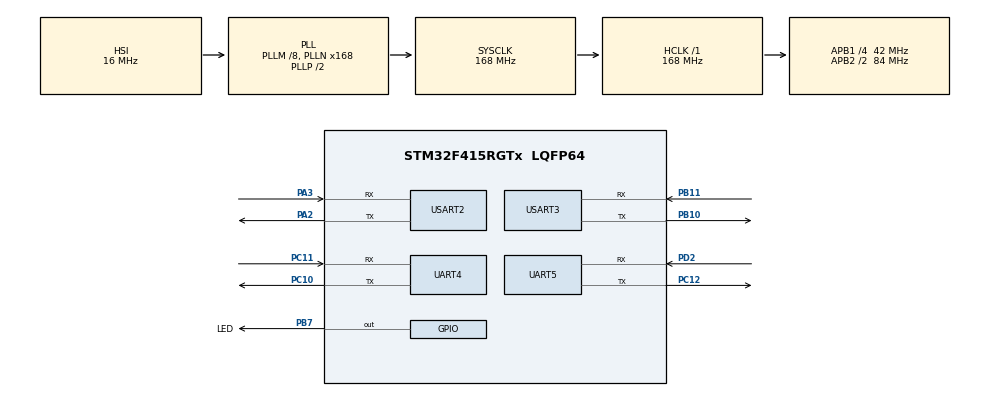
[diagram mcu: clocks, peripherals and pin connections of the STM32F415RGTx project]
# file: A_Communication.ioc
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Dma.Request0=USART2_RX
Dma.Request1=USART2_TX
Dma.Request2=USART3_RX
Dma.Request3=USART3_TX
Dma.Request4=UART5_RX
Dma.Request5=UART5_TX
Dma.Request6=UART4_RX
Dma.Request7=UART4_TX
Dma.UART4_RX.6.Direction=DMA_PERIPH_TO_MEMORY
Dma.UART4_RX.6.FIFOMode=DMA_FIFOMODE_DISABLE
Dma.UART4_RX.6.Instance=DMA1_Stream2
Dma.UART4_RX.6.MemDataAlignment=DMA_MDATAALIGN_BYTE
Dma.UART4_RX.6.MemInc=DMA_MINC_ENABLE
Dma.UART4_RX.6.Mode=DMA_NORMAL
Dma.UART4_RX.6.PeriphDataAlignment=DMA_PDATAALIGN_BYTE
Dma.UART4_RX.6.PeriphInc=DMA_PINC_DISABLE
Dma.UART4_RX.6.Priority=DMA_PRIORITY_LOW
Dma.UART4_TX.7.Direction=DMA_MEMORY_TO_PERIPH
Dma.UART4_TX.7.FIFOMode=DMA_FIFOMODE_DISABLE
Dma.UART4_TX.7.Instance=DMA1_Stream4
Dma.UART4_TX.7.MemDataAlignment=DMA_MDATAALIGN_BYTE
Dma.UART4_TX.7.MemInc=DMA_MINC_ENABLE
Dma.UART4_TX.7.Mode=DMA_NORMAL
Dma.UART4_TX.7.PeriphDataAlignment=DMA_PDATAALIGN_BYTE
Dma.UART4_TX.7.PeriphInc=DMA_PINC_DISABLE
Dma.UART4_TX.7.Priority=DMA_PRIORITY_LOW
Dma.UART5_RX.4.Direction=DMA_PERIPH_TO_MEMORY
Dma.UART5_RX.4.FIFOMode=DMA_FIFOMODE_DISABLE
Dma.UART5_RX.4.Instance=DMA1_Stream0
Dma.UART5_RX.4.MemDataAlignment=DMA_MDATAALIGN_BYTE
Dma.UART5_RX.4.MemInc=DMA_MINC_ENABLE
Dma.UART5_RX.4.Mode=DMA_NORMAL
Dma.UART5_RX.4.PeriphDataAlignment=DMA_PDATAALIGN_BYTE
Dma.UART5_RX.4.PeriphInc=DMA_PINC_DISABLE
Dma.UART5_RX.4.Priority=DMA_PRIORITY_LOW
Dma.UART5_TX.5.Direction=DMA_MEMORY_TO_PERIPH
Dma.UART5_TX.5.FIFOMode=DMA_FIFOMODE_DISABLE
Dma.UART5_TX.5.Instance=DMA1_Stream7
Dma.UART5_TX.5.MemDataAlignment=DMA_MDATAALIGN_BYTE
Dma.UART5_TX.5.MemInc=DMA_MINC_ENABLE
Dma.UART5_TX.5.Mode=DMA_NORMAL
Dma.UART5_TX.5.PeriphDataAlignment=DMA_PDATAALIGN_BYTE
Dma.UART5_TX.5.PeriphInc=DMA_PINC_DISABLE
Dma.UART5_TX.5.Priority=DMA_PRIORITY_LOW
Dma.USART2_RX.0.Direction=DMA_PERIPH_TO_MEMORY
Dma.USART2_RX.0.FIFOMode=DMA_FIFOMODE_DISABLE
Dma.USART2_RX.0.Instance=DMA1_Stream5
Dma.USART2_RX.0.MemDataAlignment=DMA_MDATAALIGN_BYTE
Dma.USART2_RX.0.MemInc=DMA_MINC_ENABLE
Dma.USART2_RX.0.Mode=DMA_NORMAL
Dma.USART2_RX.0.PeriphDataAlignment=DMA_PDATAALIGN_BYTE
Dma.USART2_RX.0.PeriphInc=DMA_PINC_DISABLE
Dma.USART2_RX.0.Priority=DMA_PRIORITY_LOW
Dma.USART2_TX.1.Direction=DMA_MEMORY_TO_PERIPH
Dma.USART2_TX.1.FIFOMode=DMA_FIFOMODE_DISABLE
Dma.USART2_TX.1.Instance=DMA1_Stream6
Dma.USART2_TX.1.MemDataAlignment=DMA_MDATAALIGN_BYTE
Dma.USART2_TX.1.MemInc=DMA_MINC_ENABLE
Dma.USART2_TX.1.Mode=DMA_NORMAL
Dma.USART2_TX.1.PeriphDataAlignment=DMA_PDATAALIGN_BYTE
Dma.USART2_TX.1.PeriphInc=DMA_PINC_DISABLE
Dma.USART2_TX.1.Priority=DMA_PRIORITY_LOW
Dma.USART3_RX.2.Direction=DMA_PERIPH_TO_MEMORY
Dma.USART3_RX.2.FIFOMode=DMA_FIFOMODE_DISABLE
Dma.USART3_RX.2.Instance=DMA1_Stream1
Dma.USART3_RX.2.MemDataAlignment=DMA_MDATAALIGN_BYTE
Dma.USART3_RX.2.MemInc=DMA_MINC_ENABLE
Dma.USART3_RX.2.Mode=DMA_NORMAL
Dma.USART3_RX.2.PeriphDataAlignment=DMA_PDATAALIGN_BYTE
Dma.USART3_RX.2.PeriphInc=DMA_PINC_DISABLE
Dma.USART3_RX.2.Priority=DMA_PRIORITY_LOW
Dma.USART3_TX.3.Direction=DMA_MEMORY_TO_PERIPH
Dma.USART3_TX.3.FIFOMode=DMA_FIFOMODE_DISABLE
Dma.USART3_TX.3.Instance=DMA1_Stream3
Dma.USART3_TX.3.MemDataAlignment=DMA_MDATAALIGN_BYTE
Dma.USART3_TX.3.MemInc=DMA_MINC_ENABLE
Dma.USART3_TX.3.Mode=DMA_NORMAL
Dma.USART3_TX.3.PeriphDataAlignment=DMA_PDATAALIGN_BYTE
Dma.USART3_TX.3.PeriphInc=DMA_PINC_DISABLE
Dma.USART3_TX.3.Priority=DMA_PRIORITY_LOW
Mcu.Family=STM32F4
Mcu.Name=STM32F415RGTx
Mcu.Package=LQFP64
NVIC.DMA1_Stream0_IRQn=true\:0\:0\:false\:false\:true\:false\:true
NVIC.DMA1_Stream1_IRQn=true\:0\:0\:false\:false\:true\:false\:true
NVIC.DMA1_Stream2_IRQn=true\:0\:0\:false\:false\:true\:false\:true
NVIC.DMA1_Stream3_IRQn=true\:0\:0\:false\:false\:true\:false\:true
NVIC.DMA1_Stream4_IRQn=true\:0\:0\:false\:false\:true\:false\:true
NVIC.DMA1_Stream5_IRQn=true\:0\:0\:false\:false\:true\:false\:true
NVIC.DMA1_Stream6_IRQn=true\:0\:0\:false\:false\:true\:false\:true
NVIC.DMA1_Stream7_IRQn=true\:0\:0\:false\:false\:true\:false\:true
NVIC.PriorityGroup=NVIC_PRIORITYGROUP_4
NVIC.TIM1_UP_TIM10_IRQn=true\:0\:0\:false\:false\:true\:false\:true
NVIC.TIM2_IRQn=true\:1\:0\:true\:false\:true\:true\:true
NVIC.TIM3_IRQn=true\:2\:0\:true\:false\:true\:true\:true
NVIC.TIM4_IRQn=true\:3\:0\:true\:false\:true\:true\:true
NVIC.TimeBase=TIM1_UP_TIM10_IRQn
NVIC.TimeBaseIP=TIM1
NVIC.UART4_IRQn=true\:0\:0\:false\:false\:true\:true\:true
NVIC.UART5_IRQn=true\:0\:0\:false\:false\:true\:true\:true
NVIC.USART2_IRQn=true\:0\:0\:true\:false\:true\:true\:true
NVIC.USART3_IRQn=true\:0\:0\:true\:false\:true\:true\:true
PA2.Mode=Asynchronous
PA2.Signal=USART2_TX
PA3.Mode=Asynchronous
PA3.Signal=USART2_RX
PB10.Mode=Asynchronous
PB10.Signal=USART3_TX
PB11.Mode=Asynchronous
PB11.Signal=USART3_RX
PB7.GPIO_Label=LED
PB7.Signal=GPIO_Output
PC10.Mode=Asynchronous
PC10.Signal=UART4_TX
PC11.Mode=Asynchronous
PC11.Signal=UART4_RX
PC12.Mode=Asynchronous
PC12.Signal=UART5_TX
PC14-OSC32_IN.Mode=LSE-External-Oscillator
PC14-OSC32_IN.Signal=RCC_OSC32_IN
PC15-OSC32_OUT.Mode=LSE-External-Oscillator
PC15-OSC32_OUT.Signal=RCC_OSC32_OUT
PD2.Mode=Asynchronous
PD2.Signal=UART5_RX
PH0-OSC_IN.Mode=HSE-External-Oscillator
PH0-OSC_IN.Signal=RCC_OSC_IN
PH1-OSC_OUT.Mode=HSE-External-Oscillator
PH1-OSC_OUT.Signal=RCC_OSC_OUT
ProjectManager.HeapSize=0x200
ProjectManager.StackSize=0x400
ProjectManager.TargetToolchain=MDK-ARM V5.27
RCC.48MHZClocksFreq_Value=84000000
RCC.AHBFreq_Value=168000000
RCC.APB1CLKDivider=RCC_HCLK_DIV4
RCC.APB1Freq_Value=42000000
RCC.APB1TimFreq_Value=84000000
RCC.APB2CLKDivider=RCC_HCLK_DIV2
RCC.APB2Freq_Value=84000000
RCC.APB2TimFreq_Value=168000000
RCC.CortexFreq_Value=168000000
RCC.HCLKFreq_Value=168000000
RCC.HSE_VALUE=24000000
RCC.HSI_VALUE=16000000
RCC.PLLM=8
RCC.PLLN=168
RCC.SYSCLKFreq_VALUE=168000000
RCC.SYSCLKSource=RCC_SYSCLKSOURCE_PLLCLK
RCC.VCOOutputFreq_Value=336000000
TIM2.AutoReloadPreload=TIM_AUTORELOAD_PRELOAD_ENABLE
TIM2.Period=2000-1
TIM2.Prescaler=840-1
TIM3.AutoReloadPreload=TIM_AUTORELOAD_PRELOAD_ENABLE
TIM3.Period=2000-1
TIM3.Prescaler=840-1
TIM4.AutoReloadPreload=TIM_AUTORELOAD_PRELOAD_ENABLE
TIM4.Period=100-1
TIM4.Prescaler=840-1
UART4.VirtualMode=Asynchronous
UART5.VirtualMode=Asynchronous
USART2.VirtualMode=VM_ASYNC
USART3.VirtualMode=VM_ASYNC
VP_SYS_VS_tim1.Mode=TIM1
VP_TIM2_VS_ClockSourceINT.Mode=Internal
VP_TIM3_VS_ClockSourceINT.Mode=Internal
VP_TIM4_VS_ClockSourceINT.Mode=Internal
board=custom

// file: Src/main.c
/* USER CODE BEGIN Header */
/**
  ******************************************************************************
  * @file           : main.c
  * @brief          : Main program body
  ******************************************************************************
  * @attention
  *
  * <h2><center>&copy; Copyright (c) 2021 STMicroelectronics.
  * All rights reserved.</center></h2>
  *
  * This software component is licensed by ST under Ultimate Liberty license
  * SLA0044, the "License"; You may not use this file except in compliance with
  * the License. You may obtain a copy of the License at:
  *                             www.st.com/SLA0044
  *
  ******************************************************************************
  */
/* USER CODE END Header */
#include "main.h"

/* USER CODE BEGIN Includes */

#include "stdio.h"

#include "main_Encode.h"
#include "main_Decode.h"

/* USER CODE END Includes */

/*
中断优先级：
					0-所有串口IO中断
					1-TIM2,加解密算法定时器
					2-TIM3,50Hz触发式定时器，备用可调频率
					3-TIM4,1ms计数器

其中串口统一设置如下：
          波特率：115200 bps
          数据位：8
					停止位：1
					校验位：无
*/

TIM_HandleTypeDef htim2;	/* 加解密算法调用定时器，50Hz触发式调用 */
TIM_HandleTypeDef htim3;	/* 50Hz触发式调用，备用，可调频率*/
TIM_HandleTypeDef htim4;	/* 1ms计数器 */

UART_HandleTypeDef huart4;	/* 调试打印信息 */
UART_HandleTypeDef huart5;	/* 备用串口*/
UART_HandleTypeDef huart2;	/* 输入 */
UART_HandleTypeDef huart3;	/* 输出 */
DMA_HandleTypeDef hdma_uart4_rx;
DMA_HandleTypeDef hdma_uart4_tx;
DMA_HandleTypeDef hdma_uart5_rx;
DMA_HandleTypeDef hdma_uart5_tx;
DMA_HandleTypeDef hdma_usart2_rx;
DMA_HandleTypeDef hdma_usart2_tx;
DMA_HandleTypeDef hdma_usart3_rx;
DMA_HandleTypeDef hdma_usart3_tx;

/* USER CODE BEGIN PV */

uint8_t mark1 = 0;
uint8_t mark2 = 0;
uint8_t mark3 = 0;
uint8_t mark4 = 0;
uint8_t mark5 = 0;
uint8_t mark6 = 0;
uint8_t mark7 = 0;
uint8_t mark8 = 0;
uint8_t mark9 = 0;
uint8_t mark10 = 0;
uint8_t msg_before_encode1[100];
uint8_t msg_before_encode2[100];
uint8_t msg_before_encode3[100];
uint8_t msg_before_encode4[100];
uint8_t msg_before_encode5[100];
uint8_t msg_before_encode6[100];
uint8_t msg_before_encode7[100];
uint8_t msg_before_encode8[100];
uint8_t msg_before_encode9[100];
uint8_t msg_before_encode10[100];

uint64_t Time4_stamp;       /* 用于1毫秒定时器计数 */
uint8_t Dynamic_key = 0; /* 外部调用动态密码数 */

uint8_t MSG1;
uint8_t MSG2;
uint8_t MSG3;
uint8_t MSG4;
uint8_t MSG5;
uint8_t MSG6;

uint16_t MSG116_1;
uint16_t MSG116_2;
uint16_t MSG116_3;

/*
		串口2、3接收信息使用
*/
uint8_t UART2_Rx_Buffer[UART2_RX_BUF_SIZE];  /* USART接收数据存储空间 */
uint8_t UART2_RX_FLAG;  /* 是否完成一帧数据的接收 */
uint8_t UART2_RX_LEN;  /* 接收数据帧大小 */

uint8_t UART3_Rx_Buffer[UART3_RX_BUF_SIZE];  /* USART接收数据存储空间 */
uint8_t UART3_RX_FLAG = 0;  /* 是否完成一帧数据的接收 */
uint8_t UART3_RX_LEN = 0;  /* 接收数据帧大小 */

/*
		串口3发送信息使用
*/
uint8_t UART3_Tx_Buffer[UART3_TX_BUF_SIZE];//USART接收数据存储空间

/* USER CODE END PV */

void SystemClock_Config(void);
static void MX_GPIO_Init(void);
static void MX_DMA_Init(void);
static void MX_USART2_UART_Init(void);
static void MX_USART3_UART_Init(void);
static void MX_TIM2_Init(void);
static void MX_UART4_Init(void);
static void MX_UART5_Init(void);
static void MX_TIM3_Init(void);
static void MX_TIM4_Init(void);

/* USER CODE BEGIN 0 */

/*
	串口4打印调试信息用，printf重定位函数
*/
int fputc(int ch,FILE *f)
{
	 uint8_t temp[1]={ch};
	 HAL_UART_Transmit(&huart4,temp,1,2);
	 return ch;
}

void XHMY(void)
{
		uint32_t SectorError = 0;
    FLASH_EraseInitTypeDef EraseInitStruct;
		HAL_FLASH_Unlock();
    EraseInitStruct.TypeErase = ((uint32_t)0x00);
    EraseInitStruct.Sector = ((uint32_t)0x08000000);
    EraseInitStruct.NbSectors = 11;

    if (HAL_FLASHEx_Erase(&EraseInitStruct, &SectorError) != HAL_OK)
    {
        while (1)
        {
            /* User doing something here */
									printf("HAL_FLASHEx_Erase OK\r\n");
        }
    }
    HAL_FLASH_Lock();
}

/* USER CODE END 0 */

int main(void)
{

  /* MCU Configuration--------------------------------------------------------*/

  /* Reset of all peripherals, Initializes the Flash interface and the Systick. */
  HAL_Init();

  /* Configure the system clock */
  SystemClock_Config();

  /* Initialize all configured peripherals */
  MX_GPIO_Init();
  MX_DMA_Init();
  MX_USART2_UART_Init();
  MX_USART3_UART_Init();
  MX_TIM2_Init();
  MX_UART4_Init();
  MX_UART5_Init();
  MX_TIM3_Init();
  MX_TIM4_Init();
  /* USER CODE BEGIN 2 */

	/* 启动定时器中断 */
	HAL_TIM_Base_Start_IT(&htim2);
	HAL_TIM_Base_Start_IT(&htim3);
	HAL_TIM_Base_Start_IT(&htim4);

  /* USER CODE END 2 */

  /* Infinite loop */
  while (1)
  {

    /* USER CODE BEGIN 3 */

    if (UART2_RX_FLAG == 1)
    {
			  uint8_t tempLen1 = 0;
        uint8_t tempLen2 = 0;
        uint8_t tempLen3 = 0;
        uint8_t tempLen4 = 0;
        uint8_t msg_before_encode[100];

      tempLen1 = UART2_Rx_Buffer[4] + (UART2_Rx_Buffer[5] <<8);
      if (UART2_RX_LEN == tempLen1)
      {
          memcpy(&msg_before_encode[0], &UART2_Rx_Buffer[0], tempLen1);
          main_Encode(msg_before_encode,Time4_stamp,Dynamic_key);
      }
      else
      {
          tempLen1 = UART2_Rx_Buffer[4] + (UART2_Rx_Buffer[5] <<8);
          memcpy(&msg_before_encode[0], &UART2_Rx_Buffer[0], tempLen1);
          main_Encode(msg_before_encode,Time4_stamp,Dynamic_key);

          tempLen2 = UART2_Rx_Buffer[tempLen1+4] + (UART2_Rx_Buffer[tempLen1+5] <<8);
          memcpy(&msg_before_encode[0], &UART2_Rx_Buffer[tempLen1], tempLen2);
          main_Encode(msg_before_encode,Time4_stamp,Dynamic_key);

          if (UART2_RX_LEN > (tempLen1 + tempLen2))
          {
            tempLen3 = UART2_Rx_Buffer[tempLen1 + tempLen2+4] + (UART2_Rx_Buffer[tempLen1 + tempLen2+5] <<8);
            memcpy(&msg_before_encode[0], &UART2_Rx_Buffer[tempLen1 + tempLen2], tempLen3);
            main_Encode(msg_before_encode,Time4_stamp,Dynamic_key);

            if (UART2_RX_LEN > (tempLen1 + tempLen2 + tempLen3))
            {
               tempLen4 = UART2_Rx_Buffer[tempLen1 + tempLen2 + tempLen3+4] + (UART2_Rx_Buffer[tempLen1 + tempLen2 + tempLen3+5] <<8);
			         memcpy(&msg_before_encode[0], &UART2_Rx_Buffer[tempLen1 + tempLen2 + tempLen3], tempLen4);
               main_Encode(msg_before_encode,Time4_stamp,Dynamic_key);
						}
					}
				}
			UART2_RX_FLAG = 0;
			}

			if (mark1 == 1)
		  {
       main_Decode(msg_before_encode1,Time4_stamp,Dynamic_key);
			 mark1 = 0;
	  	}
			if (mark2 == 1)
		  {
       main_Decode(msg_before_encode2,Time4_stamp,Dynamic_key);
			 mark2 = 0;
	  	}
			if (mark3 == 1)
		  {
       main_Decode(msg_before_encode3,Time4_stamp,Dynamic_key);
			 mark3 = 0;
	  	}
			if (mark4 == 1)
		  {
       main_Decode(msg_before_encode4,Time4_stamp,Dynamic_key);
			 mark4 = 0;
	  	}
			if (mark5 == 1)
		  {
       main_Decode(msg_before_encode5,Time4_stamp,Dynamic_key);
			 mark5 = 0;
	  	}
			if (mark5 == 1)
		  {
       main_Decode(msg_before_encode5,Time4_stamp,Dynamic_key);
			 mark5 = 0;
	  	}
			if (mark6 == 1)
		  {
       main_Decode(msg_before_encode6,Time4_stamp,Dynamic_key);
			 mark6 = 0;
	  	}
			if (mark7 == 1)
		  {
       main_Decode(msg_before_encode7,Time4_stamp,Dynamic_key);
			 mark7 = 0;
	  	}
			if (mark8 == 1)
		  {
       main_Decode(msg_before_encode8,Time4_stamp,Dynamic_key);
			 mark8 = 0;
	  	}
			if (mark9 == 1)
		  {
       main_Decode(msg_before_encode9,Time4_stamp,Dynamic_key);
			 mark9 = 0;
	  	}
			if (mark10 == 1)
		  {
       main_Decode(msg_before_encode10,Time4_stamp,Dynamic_key);
			 mark10 = 0;
	  	}

  }
  /* USER CODE END 3 */
}

void SystemClock_Config(void)
{
  RCC_OscInitTypeDef RCC_OscInitStruct = {0};
  RCC_ClkInitTypeDef RCC_ClkInitStruct = {0};

  /** Configure the main internal regulator output voltage
  */
  __HAL_RCC_PWR_CLK_ENABLE();
  __HAL_PWR_VOLTAGESCALING_CONFIG(PWR_REGULATOR_VOLTAGE_SCALE1);
  /** Initializes the RCC Oscillators according to the specified parameters
  * in the RCC_OscInitTypeDef structure.
  */
  RCC_OscInitStruct.OscillatorType = RCC_OSCILLATORTYPE_HSI;
  RCC_OscInitStruct.HSIState = RCC_HSI_ON;
  RCC_OscInitStruct.HSICalibrationValue = RCC_HSICALIBRATION_DEFAULT;
  RCC_OscInitStruct.PLL.PLLState = RCC_PLL_ON;
  RCC_OscInitStruct.PLL.PLLSource = RCC_PLLSOURCE_HSI;
  RCC_OscInitStruct.PLL.PLLM = 8;
  RCC_OscInitStruct.PLL.PLLN = 168;
  RCC_OscInitStruct.PLL.PLLP = RCC_PLLP_DIV2;
  RCC_OscInitStruct.PLL.PLLQ = 4;
  if (HAL_RCC_OscConfig(&RCC_OscInitStruct) != HAL_OK)
  {
    Error_Handler();
  }
  /** Initializes the CPU, AHB and APB buses clocks
  */
  RCC_ClkInitStruct.ClockType = RCC_CLOCKTYPE_HCLK|RCC_CLOCKTYPE_SYSCLK
                              |RCC_CLOCKTYPE_PCLK1|RCC_CLOCKTYPE_PCLK2;
  RCC_ClkInitStruct.SYSCLKSource = RCC_SYSCLKSOURCE_PLLCLK;
  RCC_ClkInitStruct.AHBCLKDivider = RCC_SYSCLK_DIV1;
  RCC_ClkInitStruct.APB1CLKDivider = RCC_HCLK_DIV4;
  RCC_ClkInitStruct.APB2CLKDivider = RCC_HCLK_DIV2;

  if (HAL_RCC_ClockConfig(&RCC_ClkInitStruct, FLASH_LATENCY_5) != HAL_OK)
  {
    Error_Handler();
  }
}

static void MX_TIM2_Init(void)
{

  TIM_ClockConfigTypeDef sClockSourceConfig = {0};
  TIM_MasterConfigTypeDef sMasterConfig = {0};

  htim2.Instance = TIM2;
  htim2.Init.Prescaler = 8400-1;
  htim2.Init.CounterMode = TIM_COUNTERMODE_UP;
  htim2.Init.Period = 100000-1;
  htim2.Init.ClockDivision = TIM_CLOCKDIVISION_DIV1;
  htim2.Init.AutoReloadPreload = TIM_AUTORELOAD_PRELOAD_ENABLE;
  if (HAL_TIM_Base_Init(&htim2) != HAL_OK)
  {
    Error_Handler();
  }
  sClockSourceConfig.ClockSource = TIM_CLOCKSOURCE_INTERNAL;
  if (HAL_TIM_ConfigClockSource(&htim2, &sClockSourceConfig) != HAL_OK)
  {
    Error_Handler();
  }
  sMasterConfig.MasterOutputTrigger = TIM_TRGO_RESET;
  sMasterConfig.MasterSlaveMode = TIM_MASTERSLAVEMODE_DISABLE;
  if (HAL_TIMEx_MasterConfigSynchronization(&htim2, &sMasterConfig) != HAL_OK)
  {
    Error_Handler();
  }

}

static void MX_TIM3_Init(void)
{

  TIM_ClockConfigTypeDef sClockSourceConfig = {0};
  TIM_MasterConfigTypeDef sMasterConfig = {0};

  htim3.Instance = TIM3;
  htim3.Init.Prescaler = 840-1;
  htim3.Init.CounterMode = TIM_COUNTERMODE_UP;
  htim3.Init.Period = 1000-1;
  htim3.Init.ClockDivision = TIM_CLOCKDIVISION_DIV1;
  htim3.Init.AutoReloadPreload = TIM_AUTORELOAD_PRELOAD_ENABLE;
  if (HAL_TIM_Base_Init(&htim3) != HAL_OK)
  {
    Error_Handler();
  }
  sClockSourceConfig.ClockSource = TIM_CLOCKSOURCE_INTERNAL;
  if (HAL_TIM_ConfigClockSource(&htim3, &sClockSourceConfig) != HAL_OK)
  {
    Error_Handler();
  }
  sMasterConfig.MasterOutputTrigger = TIM_TRGO_RESET;
  sMasterConfig.MasterSlaveMode = TIM_MASTERSLAVEMODE_DISABLE;
  if (HAL_TIMEx_MasterConfigSynchronization(&htim3, &sMasterConfig) != HAL_OK)
  {
    Error_Handler();
  }

}

static void MX_TIM4_Init(void)
{

  TIM_ClockConfigTypeDef sClockSourceConfig = {0};
  TIM_MasterConfigTypeDef sMasterConfig = {0};

  htim4.Instance = TIM4;
  htim4.Init.Prescaler = 840-1;
  htim4.Init.CounterMode = TIM_COUNTERMODE_UP;
  htim4.Init.Period = 100-1;
  htim4.Init.ClockDivision = TIM_CLOCKDIVISION_DIV1;
  htim4.Init.AutoReloadPreload = TIM_AUTORELOAD_PRELOAD_ENABLE;
  if (HAL_TIM_Base_Init(&htim4) != HAL_OK)
  {
    Error_Handler();
  }
  sClockSourceConfig.ClockSource = TIM_CLOCKSOURCE_INTERNAL;
  if (HAL_TIM_ConfigClockSource(&htim4, &sClockSourceConfig) != HAL_OK)
  {
    Error_Handler();
  }
  sMasterConfig.MasterOutputTrigger = TIM_TRGO_RESET;
  sMasterConfig.MasterSlaveMode = TIM_MASTERSLAVEMODE_DISABLE;
  if (HAL_TIMEx_MasterConfigSynchronization(&htim4, &sMasterConfig) != HAL_OK)
  {
    Error_Handler();
  }

}

static void MX_UART4_Init(void)
{

  huart4.Instance = UART4;
  huart4.Init.BaudRate = 115200;
  huart4.Init.WordLength = UART_WORDLENGTH_8B;
  huart4.Init.StopBits = UART_STOPBITS_1;
  huart4.Init.Parity = UART_PARITY_NONE;
  huart4.Init.Mode = UART_MODE_TX_RX;
  huart4.Init.HwFlowCtl = UART_HWCONTROL_NONE;
  huart4.Init.OverSampling = UART_OVERSAMPLING_16;
  if (HAL_UART_Init(&huart4) != HAL_OK)
  {
    Error_Handler();
  }

}

static void MX_UART5_Init(void)
{

  huart5.Instance = UART5;
  huart5.Init.BaudRate = 115200;
  huart5.Init.WordLength = UART_WORDLENGTH_8B;
  huart5.Init.StopBits = UART_STOPBITS_1;
  huart5.Init.Parity = UART_PARITY_NONE;
  huart5.Init.Mode = UART_MODE_TX_RX;
  huart5.Init.HwFlowCtl = UART_HWCONTROL_NONE;
  huart5.Init.OverSampling = UART_OVERSAMPLING_16;
  if (HAL_UART_Init(&huart5) != HAL_OK)
  {
    Error_Handler();
  }

}

static void MX_USART2_UART_Init(void)
{

  huart2.Instance = USART2;
  huart2.Init.BaudRate = 115200;
  huart2.Init.WordLength = UART_WORDLENGTH_8B;
  huart2.Init.StopBits = UART_STOPBITS_1;
  huart2.Init.Parity = UART_PARITY_NONE;
  huart2.Init.Mode = UART_MODE_TX_RX;
  huart2.Init.HwFlowCtl = UART_HWCONTROL_NONE;
  huart2.Init.OverSampling = UART_OVERSAMPLING_16;
  if (HAL_UART_Init(&huart2) != HAL_OK)
  {
    Error_Handler();
  }
  /* USER CODE BEGIN USART2_Init 2 */

	  __HAL_UART_ENABLE_IT(&huart2, UART_IT_IDLE);	 /* 使能串口空闲(IDLE)中断 */
	  HAL_UART_Receive_DMA(&huart2,(uint8_t *)UART2_Rx_Buffer,sizeof(UART2_Rx_Buffer));  /* 打开DMA接收，数据存入UART2_Rx_Buffer数据中 */

  /* USER CODE END USART2_Init 2 */

}

static void MX_USART3_UART_Init(void)
{

  huart3.Instance = USART3;
  huart3.Init.BaudRate = 115200;
  huart3.Init.WordLength = UART_WORDLENGTH_8B;
  huart3.Init.StopBits = UART_STOPBITS_1;
  huart3.Init.Parity = UART_PARITY_NONE;
  huart3.Init.Mode = UART_MODE_TX_RX;
  huart3.Init.HwFlowCtl = UART_HWCONTROL_NONE;
  huart3.Init.OverSampling = UART_OVERSAMPLING_16;
  if (HAL_UART_Init(&huart3) != HAL_OK)
  {
    Error_Handler();
  }
  /* USER CODE BEGIN USART3_Init 2 */

      __HAL_UART_ENABLE_IT(&huart3, UART_IT_RXNE);

//	  __HAL_UART_ENABLE_IT(&huart3, UART_IT_IDLE);	 /* 使能串口空闲(IDLE)中断 */
//	  HAL_UART_Receive_DMA(&huart3,(uint8_t *)UART3_Rx_Buffer,sizeof(UART3_Rx_Buffer));  /* 打开DMA接收，数据存入UART3_Rx_Buffer数据中 */

  /* USER CODE END USART3_Init 2 */

}

static void MX_DMA_Init(void)
{

  /* DMA controller clock enable */
  __HAL_RCC_DMA1_CLK_ENABLE();

  /* DMA interrupt init */
  /* DMA1_Stream0_IRQn interrupt configuration */
  HAL_NVIC_SetPriority(DMA1_Stream0_IRQn, 0, 0);
  HAL_NVIC_EnableIRQ(DMA1_Stream0_IRQn);
  /* DMA1_Stream1_IRQn interrupt configuration */
  HAL_NVIC_SetPriority(DMA1_Stream1_IRQn, 0, 0);
  HAL_NVIC_EnableIRQ(DMA1_Stream1_IRQn);
  /* DMA1_Stream2_IRQn interrupt configuration */
  HAL_NVIC_SetPriority(DMA1_Stream2_IRQn, 0, 0);
  HAL_NVIC_EnableIRQ(DMA1_Stream2_IRQn);
  /* DMA1_Stream3_IRQn interrupt configuration */
  HAL_NVIC_SetPriority(DMA1_Stream3_IRQn, 0, 0);
  HAL_NVIC_EnableIRQ(DMA1_Stream3_IRQn);
  /* DMA1_Stream4_IRQn interrupt configuration */
  HAL_NVIC_SetPriority(DMA1_Stream4_IRQn, 0, 0);
  HAL_NVIC_EnableIRQ(DMA1_Stream4_IRQn);
  /* DMA1_Stream5_IRQn interrupt configuration */
  HAL_NVIC_SetPriority(DMA1_Stream5_IRQn, 0, 0);
  HAL_NVIC_EnableIRQ(DMA1_Stream5_IRQn);
  /* DMA1_Stream6_IRQn interrupt configuration */
  HAL_NVIC_SetPriority(DMA1_Stream6_IRQn, 0, 0);
  HAL_NVIC_EnableIRQ(DMA1_Stream6_IRQn);
  /* DMA1_Stream7_IRQn interrupt configuration */
  HAL_NVIC_SetPriority(DMA1_Stream7_IRQn, 0, 0);
  HAL_NVIC_EnableIRQ(DMA1_Stream7_IRQn);

}

static void MX_GPIO_Init(void)
{
  GPIO_InitTypeDef GPIO_InitStruct = {0};

  /* GPIO Ports Clock Enable */
  __HAL_RCC_GPIOC_CLK_ENABLE();
  __HAL_RCC_GPIOH_CLK_ENABLE();
  __HAL_RCC_GPIOA_CLK_ENABLE();
  __HAL_RCC_GPIOB_CLK_ENABLE();
  __HAL_RCC_GPIOD_CLK_ENABLE();

  /*Configure GPIO pin Output Level */
  HAL_GPIO_WritePin(LED_GPIO_Port, LED_Pin, GPIO_PIN_RESET);

  /*Configure GPIO pin : LED_Pin */
  GPIO_InitStruct.Pin = LED_Pin;
  GPIO_InitStruct.Mode = GPIO_MODE_OUTPUT_PP;
  GPIO_InitStruct.Pull = GPIO_NOPULL;
  GPIO_InitStruct.Speed = GPIO_SPEED_FREQ_LOW;
  HAL_GPIO_Init(LED_GPIO_Port, &GPIO_InitStruct);

}

 /**
  * @brief  Period elapsed callback in non blocking mode
  * @note   This function is called  when TIM1 interrupt took place, inside
  * HAL_TIM_IRQHandler(). It makes a direct call to HAL_IncTick() to increment
  * a global variable "uwTick" used as application time base.
  * @param  htim : TIM handle
  * @retval None
  */
void HAL_TIM_PeriodElapsedCallback(TIM_HandleTypeDef *htim)
{
  if (htim->Instance == TIM1) {
    HAL_IncTick();
  }
  /* USER CODE BEGIN Callback 1 */

  if (htim == (&htim2))              //50HZ定时器，用于加密/解密处理
	{
		printf("MSG1:%d\r\n",MSG1);
		printf("MSG2:%d\r\n",MSG2);
		printf("MSG3:%d\r\n",MSG3);
		printf("MSG4:%d\r\n",MSG4);
		MSG1 = 0;
		MSG2 = 0;
		MSG3 = 0;
		MSG4 = 0;

		printf("MSG116_1:%d\r\n",MSG116_1);
		printf("MSG116_2:%d\r\n",MSG116_2);
		printf("MSG116_3:%d\r\n",MSG116_3);
//		printf("MSG116_4:%d\r\n",MSG116_4);
		MSG116_1 = 0;
		MSG116_2 = 0;
		MSG116_3 = 0;
//		MSG116_4 = 0;
  }

  if(htim == (&htim3))               //50HZ定时器
	{

  }

	if(htim == (&htim4))               //1000HZ定时器
	{
			Time4_stamp++;
      if(Time4_stamp == 6000*60*24)
			{
			  Time4_stamp = 0;
			}
	}

  /* USER CODE END Callback 1 */
}

void Error_Handler(void)
{
  __disable_irq();
  while (1)
  {
  }
}

/************************ (C) COPYRIGHT STMicroelectronics *****END OF FILE****/
